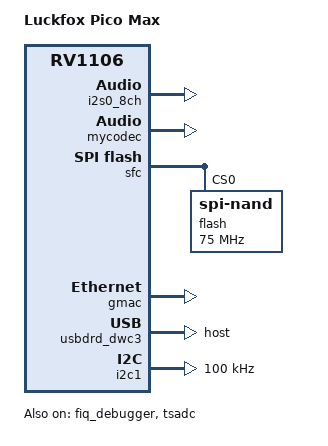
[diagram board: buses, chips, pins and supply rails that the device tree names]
// SPDX-License-Identifier: (GPL-2.0+ OR MIT)
/*
 * Copyright (c) 2022 Rockchip Electronics Co., Ltd.
 */

/dts-v1/;

#include "rv1106.dtsi"
#include "rv1106_pll-ipc.dtsi"
#include "rv1106-pinctrl.dtsi"
/ {
	model = "Luckfox Pico Max";
	compatible = "rockchip,rv1106";

};

/*********I2S*************/
&i2s0_8ch {
	status = "okay";
};

/******EXT_AUDIO_CODEC*****/
&mycodec {
	status = "okay";
};


/**********SPI_FLASH**********/
&sfc {
	status = "okay";
	flash@0 {
		compatible = "spi-nand";
		reg = <0>;
		spi-max-frequency = <75000000>;
		spi-rx-bus-width = <4>;
		spi-tx-bus-width = <1>;
	};
	
};


/*********SERIAL_DEBUG_CONSOLE******/
&fiq_debugger {
	status = "okay";
};


/**********SDMMC**********/
&sdmmc {
	max-frequency = <50000000>;
	no-sdio;
	no-mmc;
	bus-width = <4>;
	cap-mmc-highspeed;
	cap-sd-highspeed;
	disable-wp;
	pinctrl-names = "default";
	pinctrl-0 = <&sdmmc0_clk &sdmmc0_cmd &sdmmc0_det &sdmmc0_bus4>;
	status = "disable";
};

/**********EMMC*************/
&emmc {
        status = "disable";
};

/**********ETH**********/
&gmac {
	status = "okay";
};

/**********USB**********/
&usbdrd_dwc3 {
	status = "okay";
	dr_mode = "host";
};

/**********I2C**********/
&i2c1 {
 	status = "okay";
 	pinctrl-0 = <&i2c1m1_xfer>;
 	clock-frequency = <100000>;
 };
&i2c3 {
	status = "disable";
	pinctrl-0 = <&i2c3m1_xfer>;
	clock-frequency = <100000>;
};

/**********SPI**********/
&spi0 {
	status = "disable";
	pinctrl-names = "default";
	pinctrl-0 = <&spi0m0_pins>;
	cs-gpios = <&gpio1 RK_PC0 1>;
	// cs-gpios = <&gpio1 26 1>;
	#address-cells = <1>;
	#size-cells = <0>;
	spidev@0 {
		compatible = "rockchip,spidev";
		spi-max-frequency = <50000000>;
		reg = <0>;
	};
};

/******REAL_TIME_CLOCK******/
&rtc {
	status = "disable";
};

/*********TSADC*********/
&tsadc {
	status = "okay";
};
